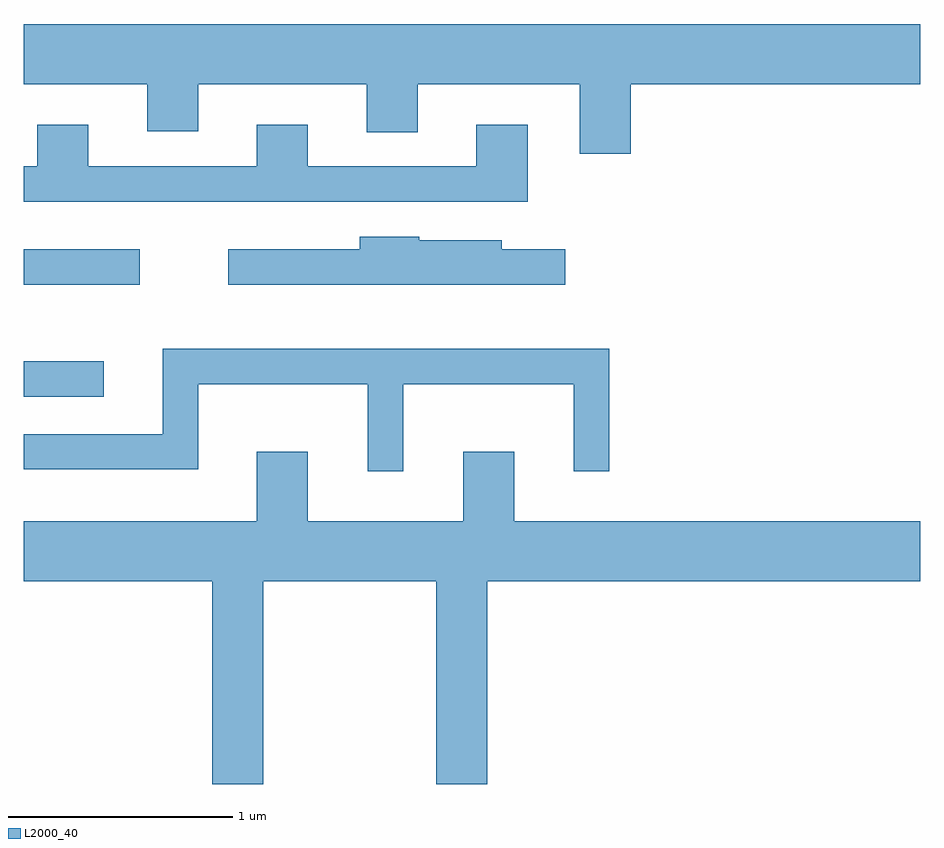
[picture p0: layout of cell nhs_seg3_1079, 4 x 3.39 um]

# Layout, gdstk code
import gdstk
lib = gdstk.Library(unit=1e-6, precision=1e-09)
def R(c, l, rs):  # rectangles x0, y0, x1, y1
    for r in rs: c.add(gdstk.rectangle(r[:2], r[2:], *l))
def P(c, l, *ps):  # polygons
    for p in ps: c.add(gdstk.Polygon(p, *l))
L2000_40 = (2000, 40)

nhs_seg3_1079 = lib.new_cell('nhs_seg3_1079')
R(nhs_seg3_1079, L2000_40, [(215.611,1235.621,215.968,1235.779), (215.611,1236.121,216.128,1236.279)])
P(nhs_seg3_1079, L2000_40, [(218.319,1237.016),(219.611,1237.016),(219.611,1237.284),(215.611,1237.284),(215.611,1237.016),(216.161,1237.016),(216.161,1236.806),(216.389,1236.806),(216.389,1237.016),(217.141,1237.016),(217.141,1236.801),(217.369,1236.801),(217.369,1237.016),(218.091,1237.016),(218.091,1236.706),(218.319,1236.706)],
  [(217.859,1236.834),(217.631,1236.834),(217.631,1236.649),(216.879,1236.649),(216.879,1236.834),(216.651,1236.834),(216.651,1236.649),(215.899,1236.649),(215.899,1236.834),(215.671,1236.834),(215.671,1236.649),(215.611,1236.649),(215.611,1236.491),(217.859,1236.491)],
  [(218.028,1236.279),(217.744,1236.279),(217.744,1236.319),(217.375,1236.319),(217.375,1236.334),(217.111,1236.334),(217.111,1236.279),(216.523,1236.279),(216.523,1236.121),(218.028,1236.121)],
  [(217.304,1235.676),(218.066,1235.676),(218.066,1235.288),(218.224,1235.288),(218.224,1235.834),(216.231,1235.834),(216.231,1235.454),(215.611,1235.454),(215.611,1235.296),(216.389,1235.296),(216.389,1235.676),(217.146,1235.676),(217.146,1235.288),(217.304,1235.288)],
  [(216.679,1234.796),(217.451,1234.796),(217.451,1233.892),(217.679,1233.892),(217.679,1234.796),(219.611,1234.796),(219.611,1235.064),(217.799,1235.064),(217.799,1235.374),(217.571,1235.374),(217.571,1235.064),(216.879,1235.064),(216.879,1235.374),(216.651,1235.374),(216.651,1235.064),(215.611,1235.064),(215.611,1234.796),(216.451,1234.796),(216.451,1233.892),(216.679,1233.892)])

lib.write_gds('nhs_seg3_1079.gds')
